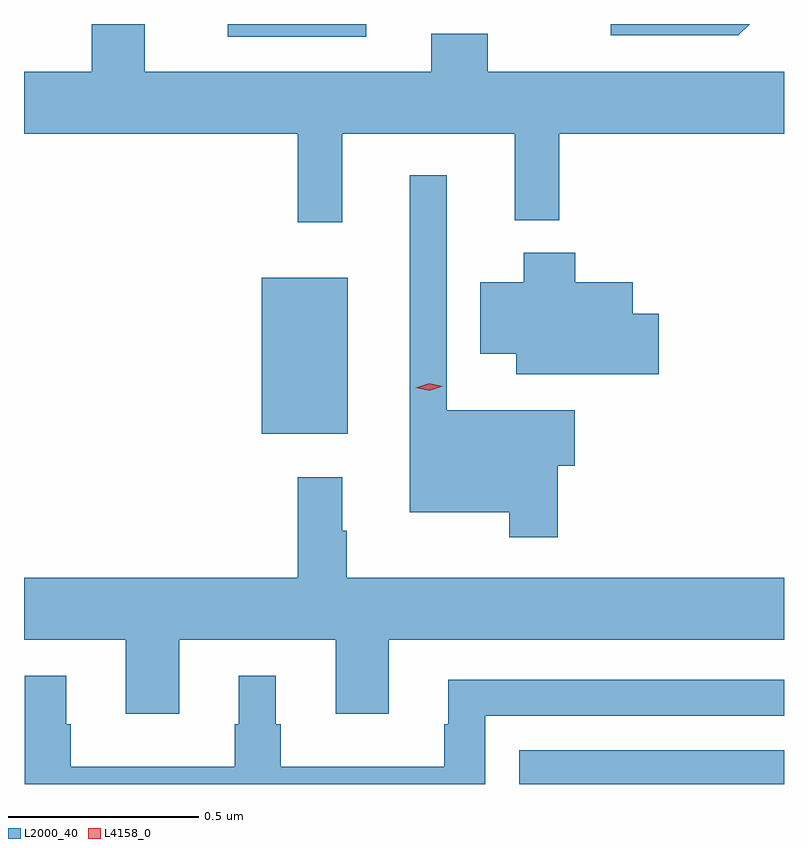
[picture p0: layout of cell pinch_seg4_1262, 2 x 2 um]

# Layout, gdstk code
import gdstk
lib = gdstk.Library(unit=1e-6, precision=1e-09)
def R(c, l, rs):  # rectangles x0, y0, x1, y1
    for r in rs: c.add(gdstk.rectangle(r[:2], r[2:], *l))
def P(c, l, *ps):  # polygons
    for p in ps: c.add(gdstk.Polygon(p, *l))
L2000_40 = (2000, 40)
L4158_0 = (4158, 0)

pinch_seg4_1262 = lib.new_cell('pinch_seg4_1262')
R(pinch_seg4_1262, L2000_40, [(161.36,817.753,162.057,817.842), (160.682,818.675,160.909,819.085), (160.593,819.72,160.957,819.753)])
P(pinch_seg4_1262, L2000_40, [(160.895,819.464),(161.348,819.464),(161.348,819.236),(161.465,819.236),(161.465,819.464),(162.057,819.464),(162.057,819.628),(161.277,819.628),(161.277,819.727),(161.129,819.727),(161.129,819.628),(160.375,819.628),(160.375,819.753),(160.235,819.753),(160.235,819.628),(160.057,819.628),(160.057,819.464),(160.777,819.464),(160.777,819.231),(160.895,819.231)],
  [(161.967,819.753),(161.601,819.753),(161.601,819.723),(161.937,819.723)],
  [(161.462,818.59),(161.506,818.59),(161.506,818.737),(161.169,818.737),(161.169,819.355),(161.072,819.355),(161.072,818.468),(161.334,818.468),(161.334,818.403),(161.462,818.403)],
  [(161.728,818.991),(161.659,818.991),(161.659,819.073),(161.507,819.073),(161.507,819.151),(161.372,819.151),(161.372,819.073),(161.258,819.073),(161.258,818.885),(161.352,818.885),(161.352,818.831),(161.728,818.831)],
  [(160.777,818.56),(160.777,818.296),(160.057,818.296),(160.057,818.132),(160.325,818.132),(160.325,817.938),(160.465,817.938),(160.465,818.132),(160.877,818.132),(160.877,817.938),(161.017,817.938),(161.017,818.132),(162.057,818.132),(162.057,818.296),(160.906,818.296),(160.906,818.42),(160.894,818.42),(160.894,818.56)],
  [(161.271,817.932),(162.057,817.932),(162.057,818.028),(161.174,818.028),(161.174,817.91),(161.163,817.91),(161.163,817.798),(160.732,817.798),(160.732,817.91),(160.72,817.91),(160.72,818.038),(160.622,818.038),(160.622,817.91),(160.611,817.91),(160.611,817.798),(160.18,817.798),(160.18,817.91),(160.168,817.91),(160.168,818.038),(160.059,818.038),(160.059,817.753),(161.271,817.753)])
P(pinch_seg4_1262, L4158_0, [(161.124,818.788),(161.088,818.796),(161.088,818.796),(161.088,818.796),(161.123,818.808),(161.159,818.8),(161.159,818.8),(161.159,818.8)])

lib.write_gds('pinch_seg4_1262.gds')
